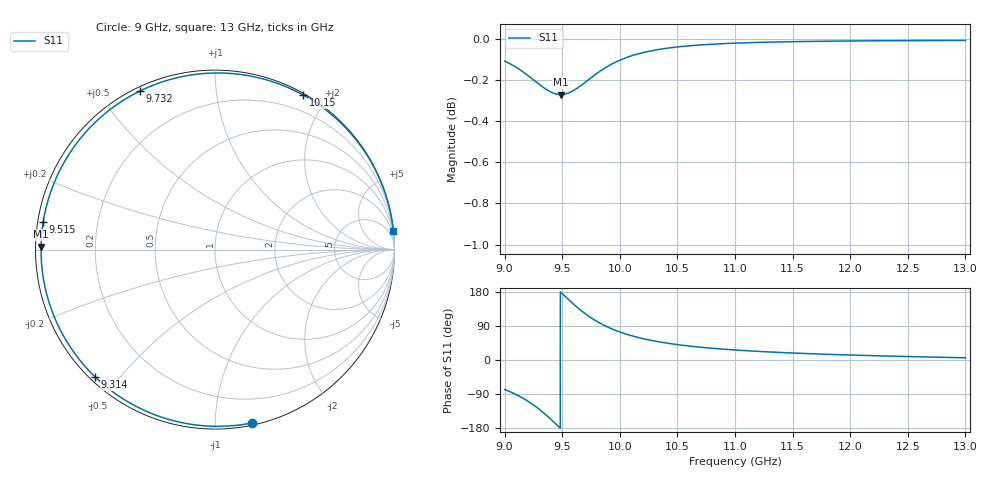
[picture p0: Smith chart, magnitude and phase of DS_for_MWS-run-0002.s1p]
! TOUCHSTONE file generated by CST DESIGN STUDIO
! Date and time: Tue Feb  4 13:40:00 2025
! Project name: C:\Work\MatlabApps\UnitCellOptimizationMatlab\CST\unitcell.cst
! Tree item: Tasks\Sweep1\SPara1\S-Parameters
! Header version: 2024
! Port assignment regex: !\s*Touchstone port\s*([0-9]+)\s*=\s*(CST MWS port|CST DES external port|CST DES block port)\s*(.+)\s* \(\"(.*)\"\)(\s*mode\s*([0-9]+))?.*
! Touchstone port assignment:
! Touchstone port 1 = CST DES external port 1 ("")
# GHz S MA R 50
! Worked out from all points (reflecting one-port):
!   4001 points, 9 GHz to 13 GHz, reference 50 ohm
!   lowest |S11| = -0.3 dB at 9.487 GHz (marker M1), VSWR 64.24, Z = 0.778 + j0.438 ohm
!   phase of S11 starts at -78 deg and turns -276 deg over the sweep
!   S11 on the Smith chart (normalised r, x): 9 GHz: 0.02, -1.24; 9.314 GHz: 0.02, -0.43; 9.515 GHz: 0.02, +0.08; 9.732 GHz: 0.02, +0.63; 10.15 GHz: 0.02, +1.73; 13 GHz: 0, +20
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9  0.9877 -77.8
9.08  0.985 -88.2
9.179  0.9808 -104.3
9.249  0.9774 -118.3
9.314  0.9742 -133.3
9.36  0.9722 -145.1
9.408  0.9705 -158.2
9.448  0.9696 -169.7
9.487  0.9693 179.0
9.5  0.9694 175.2
9.515  0.9695 170.9
9.568  0.9705 155.7
9.628  0.9727 139.6
9.679  0.975 127.0
9.732  0.9776 115.3
9.786  0.9802 104.6
9.846  0.9828 94.3
9.922  0.9857 83.3
10  0.9882 73.9
10.149  0.9915 60.2
10.308  0.9938 49.7
10.5  0.9955 40.6
10.722  0.9967 33.1
11  0.9976 26.4
11.5  0.9985 18.4
12  0.9989 13.1
12.5  0.999 9.1
13  0.9991 5.8
